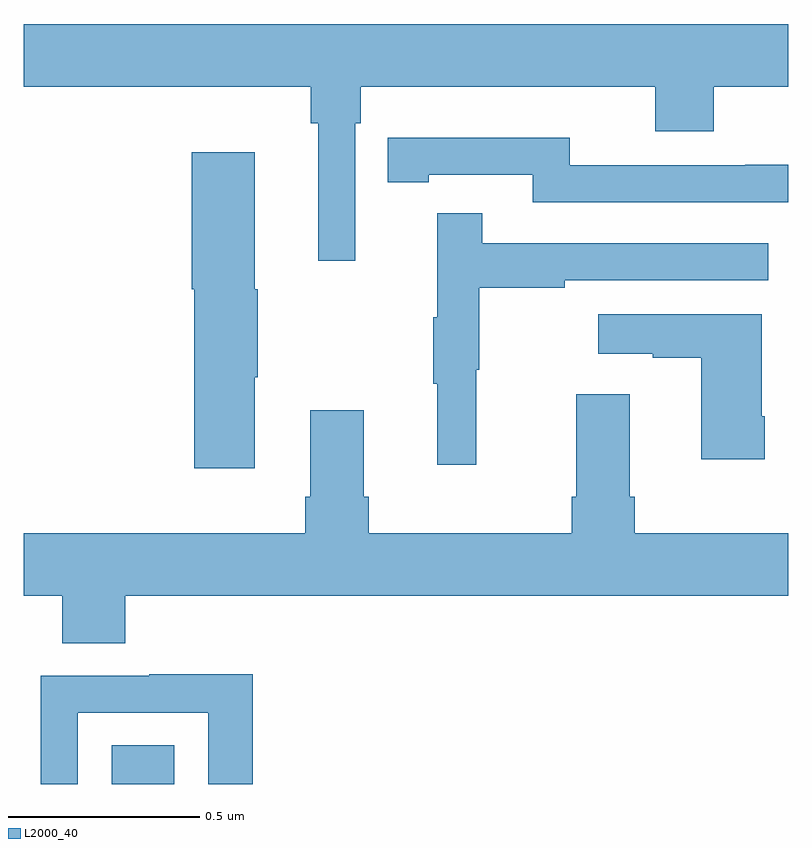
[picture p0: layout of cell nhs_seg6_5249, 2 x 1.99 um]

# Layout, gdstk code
import gdstk
lib = gdstk.Library(unit=1e-6, precision=1e-09)
def R(c, l, rs):  # rectangles x0, y0, x1, y1
    for r in rs: c.add(gdstk.rectangle(r[:2], r[2:], *l))
def P(c, l, *ps):  # polygons
    for p in ps: c.add(gdstk.Polygon(p, *l))
L2000_40 = (2000, 40)

nhs_seg6_5249 = lib.new_cell('nhs_seg6_5249')
R(nhs_seg6_5249, L2000_40, [(180.23,957.5,180.394,957.602)])
P(nhs_seg6_5249, L2000_40, [(180.867,959.228),(180.881,959.228),(180.881,959.324),(181.652,959.324),(181.652,959.207),(181.805,959.207),(181.805,959.324),(182,959.324),(182,959.488),(180,959.488),(180,959.324),(180.751,959.324),(180.751,959.228),(180.77,959.228),(180.77,958.869),(180.867,958.869)],
  [(182,959.12),(181.888,959.12),(181.888,959.118),(181.428,959.118),(181.428,959.191),(181.06,959.191),(181.06,959.19),(180.952,959.19),(180.952,959.074),(181.06,959.074),(181.06,959.094),(181.332,959.094),(181.332,959.022),(182,959.022)],
  [(180.604,958.564),(180.612,958.564),(180.612,958.794),(180.604,958.794),(180.604,959.152),(180.44,959.152),(180.44,958.794),(180.446,958.794),(180.446,958.326),(180.604,958.326)],
  [(181.184,958.584),(181.192,958.584),(181.192,958.798),(181.415,958.798),(181.415,958.818),(181.948,958.818),(181.948,958.914),(181.199,958.914),(181.199,958.993),(181.082,958.993),(181.082,958.721),(181.071,958.721),(181.071,958.547),(181.082,958.547),(181.082,958.335),(181.184,958.335)],
  [(181.938,958.462),(181.93,958.462),(181.93,958.729),(181.503,958.729),(181.503,958.625),(181.646,958.625),(181.646,958.615),(181.772,958.615),(181.772,958.35),(181.938,958.35)],
  [(180.266,957.992),(182,957.992),(182,958.156),(181.598,958.156),(181.598,958.252),(181.585,958.252),(181.585,958.519),(181.445,958.519),(181.445,958.252),(181.433,958.252),(181.433,958.156),(180.902,958.156),(180.902,958.252),(180.889,958.252),(180.889,958.477),(180.749,958.477),(180.749,958.252),(180.737,958.252),(180.737,958.156),(180,958.156),(180,957.992),(180.101,957.992),(180.101,957.868),(180.266,957.868)],
  [(180.141,957.687),(180.483,957.687),(180.483,957.5),(180.599,957.5),(180.599,957.787),(180.329,957.787),(180.329,957.783),(180.045,957.783),(180.045,957.5),(180.141,957.5)])

lib.write_gds('nhs_seg6_5249.gds')
